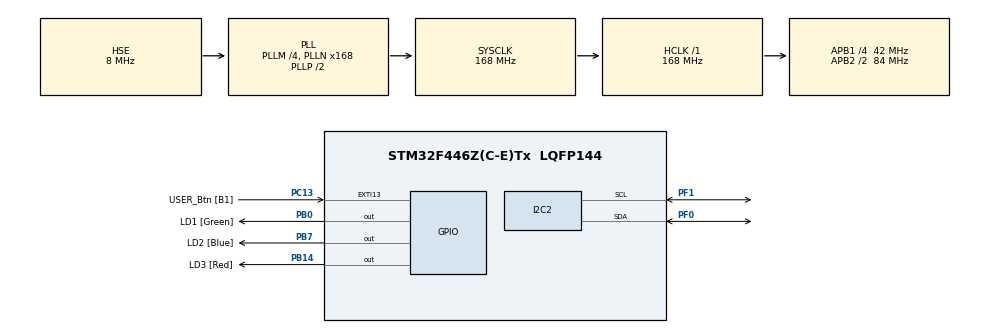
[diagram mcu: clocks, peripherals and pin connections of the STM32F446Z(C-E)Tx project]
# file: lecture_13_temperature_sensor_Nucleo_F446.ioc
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Mcu.Family=STM32F4
Mcu.Name=STM32F446Z(C-E)Tx
Mcu.Package=LQFP144
NVIC.EXTI15_10_IRQn=true\:0\:0\:false\:false\:true\:true\:true\:true
NVIC.PriorityGroup=NVIC_PRIORITYGROUP_4
PA13.Mode=Serial_Wire
PA13.Signal=SYS_JTMS-SWDIO
PA14.Mode=Serial_Wire
PA14.Signal=SYS_JTCK-SWCLK
PB0.GPIO_Label=LD1 [Green]
PB0.Signal=GPIO_Output
PB14.GPIO_Label=LD3 [Red]
PB14.Signal=GPIO_Output
PB7.GPIO_Label=LD2 [Blue]
PB7.Signal=GPIO_Output
PC13.GPIO_Label=USER_Btn [B1]
PC13.Signal=GPXTI13
PC14-OSC32_IN.Mode=LSE-External-Oscillator
PC14-OSC32_IN.Signal=RCC_OSC32_IN
PC15-OSC32_OUT.Mode=LSE-External-Oscillator
PC15-OSC32_OUT.Signal=RCC_OSC32_OUT
PF0.Mode=I2C
PF0.Signal=I2C2_SDA
PF1.Mode=I2C
PF1.Signal=I2C2_SCL
PH0-OSC_IN.Mode=HSE-External-Clock-Source
PH0-OSC_IN.Signal=RCC_OSC_IN
PH1-OSC_OUT.Mode=HSE-External-Clock-Source
PH1-OSC_OUT.Signal=RCC_OSC_OUT
ProjectManager.HeapSize=0x200
ProjectManager.StackSize=0x400
ProjectManager.TargetToolchain=STM32CubeIDE
RCC.48MHZClocksFreq_Value=24000000
RCC.AHBFreq_Value=168000000
RCC.APB1CLKDivider=RCC_HCLK_DIV4
RCC.APB1Freq_Value=42000000
RCC.APB1TimFreq_Value=84000000
RCC.APB2CLKDivider=RCC_HCLK_DIV2
RCC.APB2Freq_Value=84000000
RCC.APB2TimFreq_Value=168000000
RCC.CortexFreq_Value=168000000
RCC.HCLKFreq_Value=168000000
RCC.HSE_VALUE=8000000
RCC.HSI_VALUE=16000000
RCC.PLLM=4
RCC.PLLMUL=RCC_PLL_MUL9
RCC.PLLN=168
RCC.PLLQ=7
RCC.PLLSourceVirtual=RCC_PLLSOURCE_HSE
RCC.PRESCALERUSB=RCC_USBCLKSOURCE_PLL_DIV1_5
RCC.SYSCLKFreq_VALUE=168000000
RCC.SYSCLKSource=RCC_SYSCLKSOURCE_PLLCLK
RCC.SYSCLKSourceVirtual=RCC_SYSCLKSOURCE_PLLCLK
RCC.USBFreq_Value=48000000
RCC.VCOOutputFreq_Value=336000000
board=NUCLEO-F446ZE

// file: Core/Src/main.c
/* USER CODE BEGIN Header */
/**
  ******************************************************************************
  * @file           : main.c
  * @brief          : Main program body
  ******************************************************************************
  * @attention
  *
  * Copyright (c) 2024 STMicroelectronics.
  * All rights reserved.
  *
  * This software is licensed under terms that can be found in the LICENSE file
  * in the root directory of this software component.
  * If no LICENSE file comes with this software, it is provided AS-IS.
  *
  ******************************************************************************
  */
/* USER CODE END Header */
#include "main.h"
#include "i2c.h"
#include "gpio.h"

/* USER CODE BEGIN Includes */

#include "OLED.h"
#include "temperature_sensor.h"
#include <stdio.h>

/* USER CODE END Includes */

void SystemClock_Config(void);

int main(void)
{

  /* MCU Configuration--------------------------------------------------------*/

  /* Reset of all peripherals, Initializes the Flash interface and the Systick. */
  HAL_Init();

  /* Configure the system clock */
  SystemClock_Config();

  /* Initialize all configured peripherals */
  MX_GPIO_Init();
  MX_I2C2_Init();
  /* USER CODE BEGIN 2 */

  // Initialize OLED display for showing temperature reading
  OLED_Init();

  // For storing the measured temperature
  float temperature;
  uint16_t temperature_int;
  uint16_t temperature_frac;

  // Character array for displaying the measured temperature
  char temperature_char[10];

  /*
   * Use the Overtemperature Shoutdown function of the IC
   * (LED next to the LM75A IC)
   */
  // Set the overtemperature threshold (turn on) value to 28 degrees Celsius
  LM75A_SetOSTemperature(28);
  // Set the overtemperature hysteresis (turn off) value to 27 degrees Celsius
  LM75A_SetOSHysteresis(27);

  /* USER CODE END 2 */

  /* Infinite loop */
  /* USER CODE BEGIN WHILE */
  while (1)
  {
	  // Read the sensor.
	  LM75A_GetTemperature(&temperature);

	  // Convert the float type value to string. The integer and fractional parts handled separately.
	  temperature_int = (uint16_t)temperature;
	  temperature_frac = (uint16_t)(temperature * 100) - 100 * (uint16_t)temperature;
	  sprintf(temperature_char, "%d.%d C", temperature_int, temperature_frac);

	  // Update screen
	  OLED_Fill(Black);
	  OLED_SetCursor(2, 0);
	  OLED_WriteString("Temperature:", Font_7x10, White);
	  OLED_SetCursor(2, 10);
	  OLED_WriteString(temperature_char, Font_7x10, White);
	  // The position of the circle depends on the length of the fractional part of the displayed number.
	  if (temperature_char[4] == ' ')
	  {
		  OLED_DrawCircle(33, 12, 2, White);
	  }
	  else
	  {
		  OLED_DrawCircle(40, 12, 2, White);
	  }

	  OLED_UpdateScreen();

    /* USER CODE END WHILE */

  }
}

void SystemClock_Config(void)
{
  RCC_OscInitTypeDef RCC_OscInitStruct = {0};
  RCC_ClkInitTypeDef RCC_ClkInitStruct = {0};

  /** Configure the main internal regulator output voltage
  */
  __HAL_RCC_PWR_CLK_ENABLE();
  __HAL_PWR_VOLTAGESCALING_CONFIG(PWR_REGULATOR_VOLTAGE_SCALE1);

  /** Initializes the RCC Oscillators according to the specified parameters
  * in the RCC_OscInitTypeDef structure.
  */
  RCC_OscInitStruct.OscillatorType = RCC_OSCILLATORTYPE_HSE;
  RCC_OscInitStruct.HSEState = RCC_HSE_BYPASS;
  RCC_OscInitStruct.PLL.PLLState = RCC_PLL_ON;
  RCC_OscInitStruct.PLL.PLLSource = RCC_PLLSOURCE_HSE;
  RCC_OscInitStruct.PLL.PLLM = 4;
  RCC_OscInitStruct.PLL.PLLN = 168;
  RCC_OscInitStruct.PLL.PLLP = RCC_PLLP_DIV2;
  RCC_OscInitStruct.PLL.PLLQ = 7;
  RCC_OscInitStruct.PLL.PLLR = 2;
  if (HAL_RCC_OscConfig(&RCC_OscInitStruct) != HAL_OK)
  {
    Error_Handler();
  }

  /** Initializes the CPU, AHB and APB buses clocks
  */
  RCC_ClkInitStruct.ClockType = RCC_CLOCKTYPE_HCLK|RCC_CLOCKTYPE_SYSCLK
                              |RCC_CLOCKTYPE_PCLK1|RCC_CLOCKTYPE_PCLK2;
  RCC_ClkInitStruct.SYSCLKSource = RCC_SYSCLKSOURCE_PLLCLK;
  RCC_ClkInitStruct.AHBCLKDivider = RCC_SYSCLK_DIV1;
  RCC_ClkInitStruct.APB1CLKDivider = RCC_HCLK_DIV4;
  RCC_ClkInitStruct.APB2CLKDivider = RCC_HCLK_DIV2;

  if (HAL_RCC_ClockConfig(&RCC_ClkInitStruct, FLASH_LATENCY_5) != HAL_OK)
  {
    Error_Handler();
  }
}

void Error_Handler(void)
{
  __disable_irq();
  while (1)
  {
  }
}
